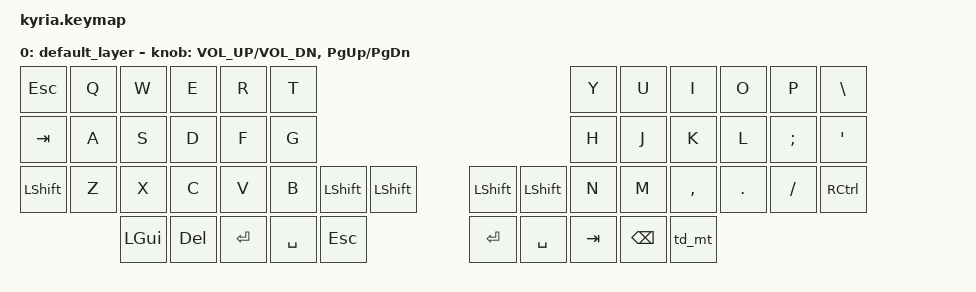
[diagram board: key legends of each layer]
/*
 * Copyright (c) 2020 The ZMK Contributors
 *
 * SPDX-License-Identifier: MIT
 */

#include <behaviors.dtsi>
#include <dt-bindings/zmk/keys.h>

/ {
    behaviors {
    td_mt: tap_dance_mod_tap {
        compatible = "zmk,behavior-tap-dance";
        label = "TAP_DANCE_MOD_TAP";
        #binding-cells = <0>;
        tapping-term-ms = <200>;
        bindings = <&mt LSHIFT CAPSLOCK>, <&kp LCTRL>;
    };
  };

	keymap {
		compatible = "zmk,keymap";

		default_layer {
// ---------------------------------------------------------------------------------------------------------------------------------
// |  ESC  |  Q  |  W  |  E   |  R   |  T   |                                          |  Y   |  U    |  I    |  O   |   P   |   \  |
// |  TAB  |  A  |  S  |  D   |  F   |  G   |                                          |  H   |  J    |  K    |  L   |   ;   |   '  |
// | SHIFT |  Z  |  X  |  C   |  V   |  B   | L SHIFT | L SHIFT |  | L SHIFT | L SHIFT |  N   |  M    |  ,    |  .   |   /   | CTRL |
//                     | GUI  | DEL  | RET  |  SPACE  |   ESC   |  |   RET   |  SPACE  | TAB  | BSPC  | R-ALT |
			bindings = <
	&kp ESC   &kp Q &kp W &kp E &kp R &kp T                                                &kp Y &kp U  &kp I     &kp O   &kp P    &kp BSLH
	&kp TAB   &kp A &kp S &kp D &kp F &kp G                                                &kp H &kp J  &kp K     &kp L   &kp SEMI &kp SQT
	&kp LSHFT &kp Z &kp X &kp C &kp V &kp B &kp LSHFT &kp LSHFT        &kp LSHFT &kp LSHFT &kp N &kp M  &kp COMMA &kp DOT &kp FSLH &kp RCTRL
	                 &kp LGUI &kp DEL &kp RET &kp SPACE &kp ESC        &kp RET  &kp SPACE  &kp TAB &kp BSPC &td_mt
			>;

			sensor-bindings = <&inc_dec_kp C_VOL_UP C_VOL_DN &inc_dec_kp PG_UP PG_DN>;
		};
	};
};
